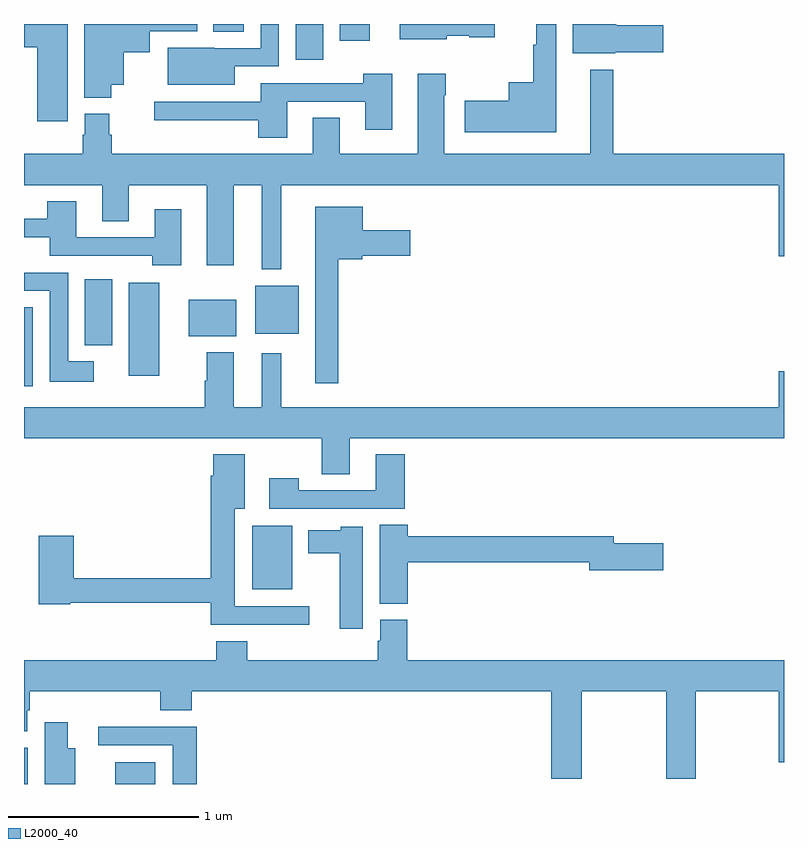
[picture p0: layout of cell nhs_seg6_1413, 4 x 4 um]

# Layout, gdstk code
import gdstk
lib = gdstk.Library(unit=1e-6, precision=1e-09)
def R(c, l, rs):  # rectangles x0, y0, x1, y1
    for r in rs: c.add(gdstk.rectangle(r[:2], r[2:], *l))
def P(c, l, *ps):  # polygons
    for p in ps: c.add(gdstk.Polygon(p, *l))
L2000_40 = (2000, 40)

nhs_seg6_1413 = lib.new_cell('nhs_seg6_1413')
R(nhs_seg6_1413, L2000_40, [(197,961.5,197.02,961.692), (197.48,961.5,197.692,961.615), (198.2,962.525,198.412,962.86), (197,963.594,197.047,964.009), (197.552,963.648,197.713,964.138), (197.321,963.809,197.464,964.156), (197.867,963.857,198.118,964.048), (198.218,963.869,198.445,964.123), (198.431,965.313,198.574,965.5), (198.662,965.412,198.82,965.5), (197.996,965.459,198.157,965.5)])
P(nhs_seg6_1413, L2000_40, [(200.112,965.351),(200.365,965.351),(200.365,965.493),(200.116,965.493),(200.116,965.5),(199.889,965.5),(199.889,965.345),(200.112,965.345)],
  [(199.801,965.5),(199.697,965.5),(199.697,965.39),(199.68,965.39),(199.68,965.194),(199.55,965.194),(199.55,965.097),(199.32,965.097),(199.32,964.931),(199.801,964.931)],
  [(197.46,965.18),(197.524,965.18),(197.524,965.351),(197.662,965.351),(197.662,965.462),(197.911,965.462),(197.911,965.5),(197.318,965.5),(197.318,965.113),(197.46,965.113)],
  [(198.109,965.277),(198.342,965.277),(198.342,965.5),(198.246,965.5),(198.246,965.373),(198,965.373),(198,965.374),(197.756,965.374),(197.756,965.18),(198.109,965.18)],
  [(197.23,965.5),(197,965.5),(197,965.378),(197.069,965.378),(197.069,964.988),(197.23,964.988)],
  [(199.224,965.438),(199.344,965.438),(199.344,965.431),(199.477,965.431),(199.477,965.5),(198.977,965.5),(198.977,965.42),(199.224,965.42)],
  [(198.355,964.652),(200.972,964.652),(200.972,964.278),(201,964.278),(201,964.816),(200.101,964.816),(200.101,965.26),(199.979,965.26),(199.979,964.816),(199.213,964.816),(199.213,965.126),(199.221,965.126),(199.221,965.239),(199.073,965.239),(199.073,964.816),(198.661,964.816),(198.661,965.006),(198.521,965.006),(198.521,964.816),(197.462,964.816),(197.462,964.917),(197.449,964.917),(197.449,965.028),(197.321,965.028),(197.321,964.917),(197.309,964.917),(197.309,964.816),(197,964.816),(197,964.652),(197.411,964.652),(197.411,964.462),(197.551,964.462),(197.551,964.652),(197.963,964.652),(197.963,964.23),(198.103,964.23),(198.103,964.652),(198.251,964.652),(198.251,964.208),(198.355,964.208)],
  [(198.385,965.091),(198.797,965.091),(198.797,964.944),(198.937,964.944),(198.937,965.239),(198.785,965.239),(198.785,965.187),(198.245,965.187),(198.245,965.091),(197.685,965.091),(197.685,964.994),(198.233,964.994),(198.233,964.902),(198.385,964.902)],
  [(197.827,964.525),(197.687,964.525),(197.687,964.377),(197.275,964.377),(197.275,964.567),(197.123,964.567),(197.123,964.474),(197,964.474),(197,964.377),(197.135,964.377),(197.135,964.281),(197.675,964.281),(197.675,964.23),(197.827,964.23)],
  [(198.655,964.262),(198.78,964.262),(198.78,964.28),(199.033,964.28),(199.033,964.414),(198.784,964.414),(198.784,964.537),(198.533,964.537),(198.533,963.609),(198.655,963.609)],
  [(197.368,963.724),(197.232,963.724),(197.232,964.191),(197,964.191),(197,964.095),(197.136,964.095),(197.136,963.617),(197.368,963.617)],
  [(198.355,963.766),(198.251,963.766),(198.251,963.484),(198.103,963.484),(198.103,963.772),(197.963,963.772),(197.963,963.623),(197.951,963.623),(197.951,963.484),(197,963.484),(197,963.32),(198.568,963.32),(198.568,963.13),(198.715,963.13),(198.715,963.32),(201,963.32),(201,963.673),(200.972,963.673),(200.972,963.484),(198.355,963.484)],
  [(198.502,962.436),(198.109,962.436),(198.109,962.948),(198.163,962.948),(198.163,963.235),(197.996,963.235),(197.996,963.122),(197.984,963.122),(197.984,962.582),(197.261,962.582),(197.261,962.806),(197.078,962.806),(197.078,962.446),(197.244,962.446),(197.244,962.454),(197.984,962.454),(197.984,962.339),(198.502,962.339)],
  [(199.004,963.235),(198.851,963.235),(198.851,963.045),(198.447,963.045),(198.447,963.109),(198.291,963.109),(198.291,962.949),(199.004,962.949)],
  [(199.019,962.668),(199.976,962.668),(199.976,962.626),(200.365,962.626),(200.365,962.768),(200.104,962.768),(200.104,962.804),(199.019,962.804),(199.019,962.864),(198.872,962.864),(198.872,962.449),(199.019,962.449)],
  [(198.784,962.854),(198.666,962.854),(198.666,962.836),(198.497,962.836),(198.497,962.714),(198.662,962.714),(198.662,962.316),(198.784,962.316)],
  [(199.935,961.988),(200.38,961.988),(200.38,961.527),(200.535,961.527),(200.535,961.988),(200.972,961.988),(200.972,961.614),(201,961.614),(201,962.152),(199.016,962.152),(199.016,962.364),(198.875,962.364),(198.875,962.253),(198.863,962.253),(198.863,962.152),(198.176,962.152),(198.176,962.251),(198.011,962.251),(198.011,962.152),(197,962.152),(197,961.777),(197.017,961.777),(197.017,961.887),(197.03,961.887),(197.03,961.988),(197.717,961.988),(197.717,961.889),(197.882,961.889),(197.882,961.988),(199.775,961.988),(199.775,961.527),(199.935,961.527)],
  [(197.269,961.687),(197.23,961.687),(197.23,961.825),(197.108,961.825),(197.108,961.5),(197.269,961.5)],
  [(197.909,961.802),(197.391,961.802),(197.391,961.704),(197.783,961.704),(197.783,961.5),(197.909,961.5)])

lib.write_gds('nhs_seg6_1413.gds')
